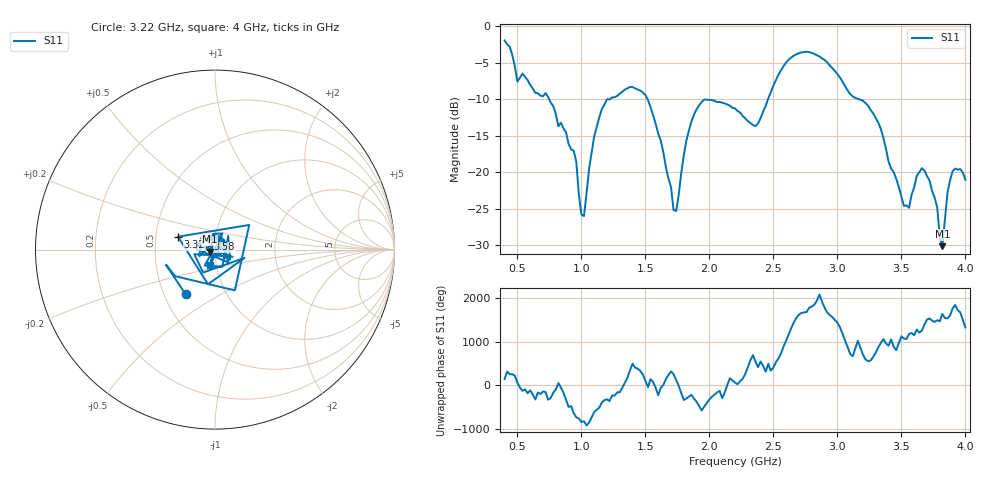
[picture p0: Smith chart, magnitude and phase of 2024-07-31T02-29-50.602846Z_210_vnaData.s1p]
!Created with skrf (http://scikit-rf.org).
# Hz S RI R 50.0
!freq ReS11 ImS11
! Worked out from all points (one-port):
!   181 points, 400 MHz to 4 GHz, reference 50 ohm
!   lowest |S11| = -30.1 dB at 3.82 GHz (marker M1), VSWR 1.06, Z = 47.2 - j1.15 ohm
!   |S11| at or under -10 dB: 748.3 MHz to 1.2 GHz (451.4 MHz wide, 46.3 % of centre); 1.517 GHz to 2.458 GHz (940.9 MHz wide, 47.3 % of centre); 3.169 GHz to end of sweep (the widest 3 of 4)
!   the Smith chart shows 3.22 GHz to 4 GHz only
!   S11 on the Smith chart (normalised r, x): 3.22 GHz: 0.64, -0.35; 3.32 GHz: 0.65, +0.10; 3.58 GHz: 0.92, +0.11; 4 GHz: 0.93, -0.16
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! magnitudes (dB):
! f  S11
! 400 MHz  -2.0
! 500 MHz  -7.6
! 720 MHz  -9.2
! 860 MHz  -14.0
! 940 MHz  -17.0
! 1.02 GHz  -26.0
! 1.14 GHz  -12.5
! 1.3 GHz  -9.2
! 1.5 GHz  -9.4
! 1.62 GHz  -15.7
! 1.72 GHz  -25.2
! 1.76 GHz  -23.1
! 1.82 GHz  -15.6
! 1.92 GHz  -10.8
! 2.2 GHz  -11.3
! 2.36 GHz  -13.7
! 2.66 GHz  -4.0
! 2.88 GHz  -4.4
! 3.1 GHz  -9.3
! 3.22 GHz  -10.5
! 3.32 GHz  -13.2
! 3.56 GHz  -24.8
! 3.58 GHz  -23.0
! 3.68 GHz  -19.7
! 3.78 GHz  -24.8
! 3.82 GHz  -30.1
! 3.9 GHz  -19.8
! 4 GHz  -21.0
